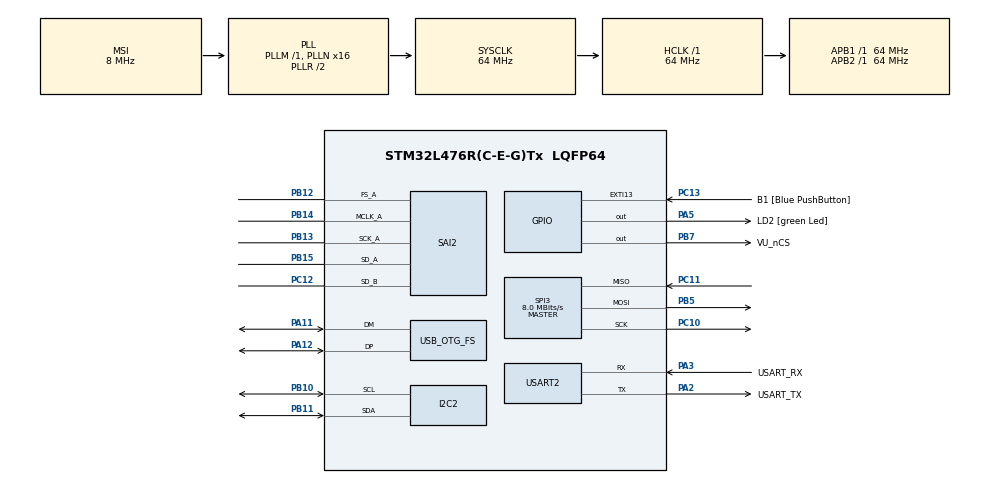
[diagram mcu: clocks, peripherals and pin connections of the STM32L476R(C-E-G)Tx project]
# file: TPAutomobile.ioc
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FREERTOS.Tasks01=defaultTask,0,128,StartDefaultTask,Default,NULL,Dynamic,NULL,NULL
FREERTOS.configTOTAL_HEAP_SIZE=20000
FREERTOS.configUSE_NEWLIB_REENTRANT=1
I2C2.Timing=0x10B17DB5
Mcu.Family=STM32L4
Mcu.Name=STM32L476R(C-E-G)Tx
Mcu.Package=LQFP64
NVIC.PriorityGroup=NVIC_PRIORITYGROUP_4
NVIC.TIM6_DAC_IRQn=true\:15\:0\:false\:false\:true\:false\:false\:true\:true
NVIC.TimeBase=TIM6_DAC_IRQn
NVIC.TimeBaseIP=TIM6
PA11.Mode=Device_Only
PA11.Signal=USB_OTG_FS_DM
PA12.Mode=Device_Only
PA12.Signal=USB_OTG_FS_DP
PA13\ (JTMS-SWDIO).GPIO_Label=TMS
PA13\ (JTMS-SWDIO).Mode=Trace_Asynchronous_SW
PA13\ (JTMS-SWDIO).Signal=SYS_JTMS-SWDIO
PA14\ (JTCK-SWCLK).GPIO_Label=TCK
PA14\ (JTCK-SWCLK).Mode=Trace_Asynchronous_SW
PA14\ (JTCK-SWCLK).Signal=SYS_JTCK-SWCLK
PA2.GPIO_Label=USART_TX
PA2.GPIO_Mode=GPIO_MODE_AF_PP
PA2.GPIO_PuPd=GPIO_NOPULL
PA2.GPIO_Speed=GPIO_SPEED_FREQ_VERY_HIGH
PA2.Mode=Asynchronous
PA2.Signal=USART2_TX
PA3.GPIO_Label=USART_RX
PA3.GPIO_Mode=GPIO_MODE_AF_PP
PA3.GPIO_PuPd=GPIO_NOPULL
PA3.GPIO_Speed=GPIO_SPEED_FREQ_VERY_HIGH
PA3.Mode=Asynchronous
PA3.Signal=USART2_RX
PA5.GPIO_Label=LD2 [green Led]
PA5.GPIO_ModeDefaultOutputPP=GPIO_MODE_OUTPUT_PP
PA5.GPIO_PuPd=GPIO_NOPULL
PA5.GPIO_Speed=GPIO_SPEED_FREQ_LOW
PA5.Signal=GPIO_Output
PB10.Mode=I2C
PB10.Signal=I2C2_SCL
PB11.Mode=I2C
PB11.Signal=I2C2_SDA
PB12.Mode=SAI_A_MasterWithClock
PB12.Signal=SAI2_FS_A
PB13.Mode=SAI_A_MasterWithClock
PB13.Signal=SAI2_SCK_A
PB14.Mode=SAI_A_MasterWithClock
PB14.Signal=SAI2_MCLK_A
PB15.Mode=SAI_A_MasterWithClock
PB15.Signal=SAI2_SD_A
PB3\ (JTDO-TRACESWO).GPIO_Label=SWO
PB3\ (JTDO-TRACESWO).Mode=Trace_Asynchronous_SW
PB3\ (JTDO-TRACESWO).Signal=SYS_JTDO-SWO
PB5.Mode=Full_Duplex_Master
PB5.Signal=SPI3_MOSI
PB7.GPIO_Label=VU_nCS
PB7.Signal=GPIO_Output
PC10.Mode=Full_Duplex_Master
PC10.Signal=SPI3_SCK
PC11.Mode=Full_Duplex_Master
PC11.Signal=SPI3_MISO
PC12.Mode=SAI_B_SyncSlave
PC12.Signal=SAI2_SD_B
PC13.GPIO_Label=B1 [Blue PushButton]
PC13.GPIO_ModeDefaultEXTI=GPIO_MODE_IT_FALLING
PC13.GPIO_PuPd=GPIO_NOPULL
PC13.Signal=GPXTI13
PC14-OSC32_IN\ (PC14).Signal=RCC_OSC32_IN
PC15-OSC32_OUT\ (PC15).Signal=RCC_OSC32_OUT
PH0-OSC_IN\ (PH0).Signal=RCC_OSC_IN
PH1-OSC_OUT\ (PH1).Signal=RCC_OSC_OUT
ProjectManager.HeapSize=0x200
ProjectManager.StackSize=0x400
ProjectManager.TargetToolchain=STM32CubeIDE
RCC.ADCFreq_Value=96000000
RCC.AHBFreq_Value=64000000
RCC.APB1Freq_Value=64000000
RCC.APB1TimFreq_Value=64000000
RCC.APB2Freq_Value=64000000
RCC.APB2TimFreq_Value=64000000
RCC.CortexFreq_Value=64000000
RCC.HCLKFreq_Value=64000000
RCC.HSE_VALUE=8000000
RCC.HSI_VALUE=16000000
RCC.LSE_VALUE=32768
RCC.MSIClockRange=RCC_MSIRANGE_7
RCC.MSI_VALUE=8000000
RCC.PLLN=16
RCC.PLLSAI1N=24
RCC.PLLSAI1Q=RCC_PLLQ_DIV4
RCC.PREFETCH_ENABLE=1
RCC.SYSCLKFreq_VALUE=64000000
RCC.SYSCLKSource=RCC_SYSCLKSOURCE_PLLCLK
RCC.USBFreq_Value=48000000
RCC.VCOOutputFreq_Value=128000000
SAI2.ErrorAudioFreq-SAI_A_MasterWithClock=-62.79 %
SAI2.InitProtocol-SAI_A_MasterWithClock=Enable
SAI2.InitProtocol-SAI_B_SyncSlave=Enable
SAI2.Instance-SAI_A_MasterWithClock=SAI$Index_Block_A
SAI2.Instance-SAI_B_SyncSlave=SAI$Index_Block_B
SAI2.MClockEnable-SAI_A_MasterWithClock=SAI_MASTERCLOCK_ENABLE
SAI2.RealAudioFreq-SAI_A_MasterWithClock=71.428 KHz
SAI2.VirtualMode-SAI_A_MasterWithClock=VM_MASTER
SAI2.VirtualMode-SAI_B_SyncSlave=VM_SLAVE
SAI2.VirtualProtocol-SAI_A_BASIC=VM_BASIC_PROTOCOL
SAI2.VirtualProtocol-SAI_B_BASIC=VM_BASIC_PROTOCOL
SPI3.BaudRatePrescaler=SPI_BAUDRATEPRESCALER_8
SPI3.CalculateBaudRate=8.0 MBits/s
SPI3.DataSize=SPI_DATASIZE_8BIT
SPI3.Direction=SPI_DIRECTION_2LINES
SPI3.Mode=SPI_MODE_MASTER
SPI3.VirtualType=VM_MASTER
USART2.VirtualMode-Asynchronous=VM_ASYNC
USB_OTG_FS.VirtualMode=Device_Only
VP_FREERTOS_VS_CMSIS_V1.Mode=CMSIS_V1
VP_SAI2_VP_$IpInstance_SAIA_SAI_BASIC.Mode=SAI_A_BASIC
VP_SAI2_VP_$IpInstance_SAIB_SAI_BASIC.Mode=SAI_B_BASIC
VP_SYS_VS_tim6.Mode=TIM6
board=NUCLEO-L476RG

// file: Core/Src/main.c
/* USER CODE BEGIN Header */
/**
  ******************************************************************************
  * @file           : main.c
  * @brief          : Main program body
  ******************************************************************************
  * @attention
  *
  * Copyright (c) 2025 STMicroelectronics.
  * All rights reserved.
  *
  * This software is licensed under terms that can be found in the LICENSE file
  * in the root directory of this software component.
  * If no LICENSE file comes with this software, it is provided AS-IS.
  *
  ******************************************************************************
  */
/* USER CODE END Header */
#include "main.h"
#include "cmsis_os.h"
#include "i2c.h"
#include "sai.h"
#include "spi.h"
#include "usart.h"
#include "usb_otg.h"
#include "gpio.h"

/* USER CODE BEGIN Includes */
#include "stdio.h"
#include "stdlib.h"
#include "shell.h"
#include "mcp23s17.h"
/* USER CODE END Includes */

/* USER CODE BEGIN PV */
h_shell_t h_shell;
mcp23s17_handle_t mcp;
SemaphoreHandle_t mutex;
/* USER CODE END PV */

void SystemClock_Config(void);
void PeriphCommonClock_Config(void);
void MX_FREERTOS_Init(void);

/* USER CODE BEGIN 0 */
int __io_putchar(int chr)
{
	HAL_UART_Transmit(&huart2, (uint8_t*)&chr, 1, HAL_MAX_DELAY);
	return chr;
}

uint8_t drv_uart_receive(char * pData, uint16_t size)
{
	HAL_UART_Receive(&huart2, (uint8_t*)pData, size, HAL_MAX_DELAY);
	return 0;
}

uint8_t drv_uart_transmit(char * pData, uint16_t size)
{
	HAL_UART_Transmit(&huart2, (uint8_t*)pData, size, HAL_MAX_DELAY);
	return 0;
}

h_shell_t h_shell =
{
		.drv_shell = {
				.drv_shell_transmit = drv_uart_transmit,
				.drv_shell_receive = drv_uart_receive
		}
};

// Callbacks MCP23S17
static void cs_low(void *d)   { HAL_GPIO_WritePin(VU_nCS_GPIO_Port, VU_nCS_Pin, GPIO_PIN_RESET); }
static void cs_high(void *d)  { HAL_GPIO_WritePin(VU_nCS_GPIO_Port, VU_nCS_Pin, GPIO_PIN_SET); }
static void spi_xfer(const uint8_t *tx, uint8_t *rx, uint16_t len, void *d)
{
    HAL_SPI_TransmitReceive(&hspi3, (uint8_t*)tx, rx, len, 100);
}
static void delay_ms(uint32_t ms, void *d) { vTaskDelay(pdMS_TO_TICKS(ms)); }

void task_xpander(void * unused)
{
	mcp = (mcp23s17_handle_t){
        .addr_pins    = 0b000,
        .user_data    = NULL,
        .cs_low       = cs_low,
        .cs_high      = cs_high,
        .spi_transfer = spi_xfer,
        .delay_ms     = delay_ms,
        .mutex        = mutex
    };

if (mcp23s17_init(&mcp, 1)) {
        // OK
        mcp23s17_pin_mode(&mcp, 0, 0);  // sortie
        mcp23s17_digital_write(&mcp, 0, 1);
    }

for (;;){
	mcp23s17_digital_write(&mcp,  0, 1);  // GPA0 = 1
	mcp23s17_digital_write(&mcp,  8, 1);  // GPB0 = 1
	vTaskDelay(500);
}

	// Une tâche ne doit *JAMAIS* retourner
	// Ici elle ne retourne pas parce qu'il y a une boucle infinie dans shell_run();
}

int fonction(h_shell_t * h_shell, int argc, char ** argv)
{
	printf("Je suis une fonction bidon\r\n");

	printf("argc = %d\r\n", argc);

	for (int i = 0 ; i < argc ; i++)
	{
		printf("argv[%d] = %s\r\n", i, argv[i]);
	}

	return 0;
}

int addition(h_shell_t * h_shell, int argc, char ** argv)
{
	if (argc != 3)
	{
		printf("Error: expected two arguments\r\n");
		return -1;
	}

	int a = atoi(argv[1]);
	int b = atoi(argv[2]);
	int c = a + b;

	printf("%d + %d = %d\r\n", a, b, c);

	return 0;
}

void task_shell(void * unused)
{
	shell_init(&h_shell);
	shell_add(&h_shell, 'f', fonction, "Une fonction inutile");
	shell_add(&h_shell, 'a', addition, "Ma super addition");
	shell_run(&h_shell);

	// Une tâche ne doit *JAMAIS* retourner
	// Ici elle ne retourne pas parce qu'il y a une boucle infinie dans shell_run();
}

void HAL_UART_RxCpltCallback(UART_HandleTypeDef *huart)
{
	if (huart->Instance == USART2)	// LPUART1
	{
		// Caractère reçu : Donner le sémaphore pour débloquer task_shell
		shell_uart_rx_callback(&h_shell);
	}
}

void task_led(void * unused)
{
	for (;;)
	{
		HAL_GPIO_TogglePin(LD2_GPIO_Port, LD2_Pin);
		vTaskDelay(250);
	}
}

void vApplicationStackOverflowHook(TaskHandle_t xTask, char *pcTaskName)
{
	Error_Handler();
}

/* USER CODE END 0 */

int main(void)
{

  /* MCU Configuration--------------------------------------------------------*/

  /* Reset of all peripherals, Initializes the Flash interface and the Systick. */
  HAL_Init();

  /* Configure the system clock */
  SystemClock_Config();

  /* Configure the peripherals common clocks */
  PeriphCommonClock_Config();

  /* Initialize all configured peripherals */
  MX_GPIO_Init();
  MX_I2C2_Init();
  MX_SAI2_Init();
  MX_SPI3_Init();
  MX_USART2_UART_Init();
  MX_USB_OTG_FS_PCD_Init();
  /* USER CODE BEGIN 2 */
  int x = 0;
  //Config driver
  hled.hspi=&hspi3;
  hled.cs_port=GPIOA;
  hled.cs_pin=GPIO_PIN_4;
  Driver_LED_Init(&hled);

//  MUTEX = XSEMAPHORECREATEMUTEX();

//  if (xTaskCreate(task_xpander, "xpander", 256, NULL, 3, NULL) != pdPASS)
//    	{
//    		printf("Error creating task xpander\r\n");
//    		Error_Handler();
//    	}

  if (xTaskCreate(task_shell, "Shell", 512, NULL, 1, NULL) != pdPASS)
  	{
  		printf("Error creating task Shell\r\n");
  		Error_Handler();
  	}

  	if (xTaskCreate(task_led, "LED", 128, NULL, 2, NULL) != pdPASS)
  	{
  		printf("Error creating task LED\r\n");
  		Error_Handler();
  	}

  	vTaskStartScheduler();
  /* USER CODE END 2 */

  /* Call init function for freertos objects (in cmsis_os2.c) */
  MX_FREERTOS_Init();

  /* Start scheduler */
  osKernelStart();

  /* We should never get here as control is now taken by the scheduler */

  /* Infinite loop */
  while (1)
  {

    /* USER CODE BEGIN 3 */
	//HAL_GPIO_TogglePin(LD2_GPIO_Port, LD2_Pin);
	//HAL_Delay(500);
	//printf("toogle %d \n\r",x++);

  }
  /* USER CODE END 3 */
}

void SystemClock_Config(void)
{
  RCC_OscInitTypeDef RCC_OscInitStruct = {0};
  RCC_ClkInitTypeDef RCC_ClkInitStruct = {0};

  /** Configure the main internal regulator output voltage
  */
  if (HAL_PWREx_ControlVoltageScaling(PWR_REGULATOR_VOLTAGE_SCALE1) != HAL_OK)
  {
    Error_Handler();
  }

  /** Initializes the RCC Oscillators according to the specified parameters
  * in the RCC_OscInitTypeDef structure.
  */
  RCC_OscInitStruct.OscillatorType = RCC_OSCILLATORTYPE_MSI;
  RCC_OscInitStruct.MSIState = RCC_MSI_ON;
  RCC_OscInitStruct.MSICalibrationValue = 0;
  RCC_OscInitStruct.MSIClockRange = RCC_MSIRANGE_7;
  RCC_OscInitStruct.PLL.PLLState = RCC_PLL_ON;
  RCC_OscInitStruct.PLL.PLLSource = RCC_PLLSOURCE_MSI;
  RCC_OscInitStruct.PLL.PLLM = 1;
  RCC_OscInitStruct.PLL.PLLN = 16;
  RCC_OscInitStruct.PLL.PLLP = RCC_PLLP_DIV7;
  RCC_OscInitStruct.PLL.PLLQ = RCC_PLLQ_DIV2;
  RCC_OscInitStruct.PLL.PLLR = RCC_PLLR_DIV2;
  if (HAL_RCC_OscConfig(&RCC_OscInitStruct) != HAL_OK)
  {
    Error_Handler();
  }

  /** Initializes the CPU, AHB and APB buses clocks
  */
  RCC_ClkInitStruct.ClockType = RCC_CLOCKTYPE_HCLK|RCC_CLOCKTYPE_SYSCLK
                              |RCC_CLOCKTYPE_PCLK1|RCC_CLOCKTYPE_PCLK2;
  RCC_ClkInitStruct.SYSCLKSource = RCC_SYSCLKSOURCE_PLLCLK;
  RCC_ClkInitStruct.AHBCLKDivider = RCC_SYSCLK_DIV1;
  RCC_ClkInitStruct.APB1CLKDivider = RCC_HCLK_DIV1;
  RCC_ClkInitStruct.APB2CLKDivider = RCC_HCLK_DIV1;

  if (HAL_RCC_ClockConfig(&RCC_ClkInitStruct, FLASH_LATENCY_3) != HAL_OK)
  {
    Error_Handler();
  }
}

void PeriphCommonClock_Config(void)
{
  RCC_PeriphCLKInitTypeDef PeriphClkInit = {0};

  /** Initializes the peripherals clock
  */
  PeriphClkInit.PeriphClockSelection = RCC_PERIPHCLK_SAI2|RCC_PERIPHCLK_USB;
  PeriphClkInit.Sai2ClockSelection = RCC_SAI2CLKSOURCE_PLLSAI1;
  PeriphClkInit.UsbClockSelection = RCC_USBCLKSOURCE_PLLSAI1;
  PeriphClkInit.PLLSAI1.PLLSAI1Source = RCC_PLLSOURCE_MSI;
  PeriphClkInit.PLLSAI1.PLLSAI1M = 1;
  PeriphClkInit.PLLSAI1.PLLSAI1N = 24;
  PeriphClkInit.PLLSAI1.PLLSAI1P = RCC_PLLP_DIV7;
  PeriphClkInit.PLLSAI1.PLLSAI1Q = RCC_PLLQ_DIV4;
  PeriphClkInit.PLLSAI1.PLLSAI1R = RCC_PLLR_DIV2;
  PeriphClkInit.PLLSAI1.PLLSAI1ClockOut = RCC_PLLSAI1_SAI1CLK|RCC_PLLSAI1_48M2CLK;
  if (HAL_RCCEx_PeriphCLKConfig(&PeriphClkInit) != HAL_OK)
  {
    Error_Handler();
  }
}

void HAL_TIM_PeriodElapsedCallback(TIM_HandleTypeDef *htim)
{
  if (htim->Instance == TIM6)
  {
    HAL_IncTick();
  }
}

void Error_Handler(void)
{
  __disable_irq();
  while (1)
  {
  }
}
